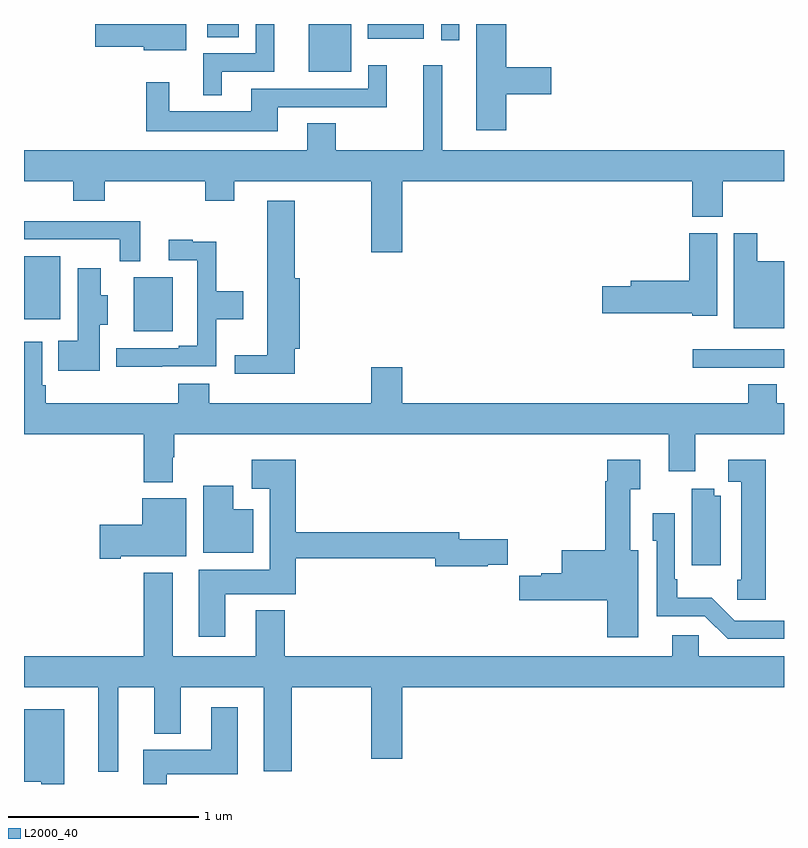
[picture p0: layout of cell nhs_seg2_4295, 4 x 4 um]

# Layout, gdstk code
import gdstk
lib = gdstk.Library(unit=1e-6, precision=1e-09)
def R(c, l, rs):  # rectangles x0, y0, x1, y1
    for r in rs: c.add(gdstk.rectangle(r[:2], r[2:], *l))
def P(c, l, *ps):  # polygons
    for p in ps: c.add(gdstk.Polygon(p, *l))
L2000_40 = (2000, 40)

nhs_seg2_4295 = lib.new_cell('nhs_seg2_4295')
R(nhs_seg2_4295, L2000_40, [(346.521,643.992,347,644.088), (343.577,644.183,343.783,644.467), (343,644.246,343.192,644.578), (344.498,645.548,344.722,645.8), (345.195,645.714,345.291,645.8), (344.81,645.722,345.103,645.8), (343.964,645.73,344.131,645.8)])
P(nhs_seg2_4295, L2000_40, [(344.041,645.549),(344.318,645.549),(344.318,645.8),(344.22,645.8),(344.22,645.645),(343.943,645.645),(343.943,645.425),(344.041,645.425)],
  [(343.855,645.8),(343.376,645.8),(343.376,645.68),(343.629,645.68),(343.629,645.662),(343.855,645.662)],
  [(345.539,645.43),(345.775,645.43),(345.775,645.572),(345.539,645.572),(345.539,645.8),(345.38,645.8),(345.38,645.24),(345.539,645.24)],
  [(344.335,645.363),(344.909,645.363),(344.909,645.583),(344.811,645.583),(344.811,645.459),(344.195,645.459),(344.195,645.34),(343.765,645.34),(343.765,645.493),(343.644,645.493),(343.644,645.236),(344.335,645.236)],
  [(344.992,644.972),(346.517,644.972),(346.517,644.785),(346.677,644.785),(346.677,644.972),(347,644.972),(347,645.136),(345.2,645.136),(345.2,645.583),(345.101,645.583),(345.101,645.136),(344.64,645.136),(344.64,645.278),(344.492,645.278),(344.492,645.136),(343,645.136),(343,644.972),(343.259,644.972),(343.259,644.87),(343.424,644.87),(343.424,644.972),(343.955,644.972),(343.955,644.87),(344.107,644.87),(344.107,644.972),(344.828,644.972),(344.828,644.598),(344.992,644.598)],
  [(344.424,644.091),(344.45,644.091),(344.45,644.463),(344.424,644.463),(344.424,644.869),(344.279,644.869),(344.279,644.057),(344.109,644.057),(344.109,643.958),(344.424,643.958)],
  [(343.612,644.763),(343,644.763),(343,644.667),(343.288,644.667),(343.288,644.666),(343.503,644.666),(343.503,644.552),(343.612,644.552)],
  [(346.648,644.7),(346.502,644.7),(346.502,644.45),(346.193,644.45),(346.193,644.42),(346.044,644.42),(346.044,644.278),(346.518,644.278),(346.518,644.264),(346.648,644.264)],
  [(347,644.551),(346.858,644.551),(346.858,644.698),(346.736,644.698),(346.736,644.198),(347,644.198)],
  [(343.727,643.998),(344.012,643.998),(344.012,644.246),(344.155,644.246),(344.155,644.394),(344.012,644.394),(344.012,644.654),(343.889,644.654),(343.889,644.665),(343.761,644.665),(343.761,644.556),(343.911,644.556),(343.911,644.107),(343.814,644.107),(343.814,644.094),(343.485,644.094),(343.485,643.997),(343.727,643.997)],
  [(343.399,644.218),(343.441,644.218),(343.441,644.373),(343.405,644.373),(343.405,644.515),(343.283,644.515),(343.283,644.134),(343.18,644.134),(343.18,643.976),(343.399,643.976)],
  [(343,644.128),(343,643.64),(343.631,643.64),(343.631,643.388),(343.783,643.388),(343.783,643.52),(343.791,643.52),(343.791,643.64),(346.394,643.64),(346.394,643.446),(346.534,643.446),(346.534,643.64),(347,643.64),(347,643.804),(346.963,643.804),(346.963,643.903),(346.811,643.903),(346.811,643.804),(344.992,643.804),(344.992,643.993),(344.828,643.993),(344.828,643.804),(343.976,643.804),(343.976,643.906),(343.811,643.906),(343.811,643.804),(343.115,643.804),(343.115,643.9),(343.095,643.9),(343.095,644.128)],
  [(344.059,642.8),(344.429,642.8),(344.429,642.988),(345.164,642.988),(345.164,642.946),(345.44,642.946),(345.44,642.954),(345.545,642.954),(345.545,643.088),(345.292,643.088),(345.292,643.124),(344.429,643.124),(344.429,643.507),(344.199,643.507),(344.199,643.355),(344.294,643.355),(344.294,642.928),(343.919,642.928),(343.919,642.576),(344.059,642.576)],
  [(346.903,643.507),(346.707,643.507),(346.707,643.392),(346.775,643.392),(346.775,642.876),(346.753,642.876),(346.753,642.771),(346.903,642.771)],
  [(346.234,643.03),(346.192,643.03),(346.192,643.351),(346.243,643.351),(346.243,643.507),(346.07,643.507),(346.07,643.394),(346.058,643.394),(346.058,643.03),(345.83,643.03),(345.83,642.908),(345.723,642.908),(345.723,642.896),(345.607,642.896),(345.607,642.766),(346.07,642.766),(346.07,642.573),(346.234,642.573)],
  [(344.206,643.246),(344.101,643.246),(344.101,643.369),(343.943,643.369),(343.943,643.016),(344.206,643.016)],
  [(346.666,643.318),(346.634,643.318),(346.634,643.355),(346.514,643.355),(346.514,642.951),(346.666,642.951)],
  [(343.51,642.998),(343.855,642.998),(343.855,643.303),(343.622,643.303),(343.622,643.164),(343.398,643.164),(343.398,642.986),(343.51,642.986)],
  [(347,642.66),(346.74,642.66),(346.619,642.781),(346.438,642.781),(346.438,642.877),(346.425,642.877),(346.425,643.225),(346.308,643.225),(346.308,643.08),(346.329,643.08),(346.329,642.684),(346.584,642.684),(346.704,642.564),(347,642.564)],
  [(343.495,642.308),(343.685,642.308),(343.685,642.065),(343.825,642.065),(343.825,642.308),(344.261,642.308),(344.261,641.867),(344.409,641.867),(344.409,642.308),(344.828,642.308),(344.828,641.934),(344.992,641.934),(344.992,642.308),(347,642.308),(347,642.472),(346.551,642.472),(346.551,642.582),(346.412,642.582),(346.412,642.472),(344.372,642.472),(344.372,642.715),(344.219,642.715),(344.219,642.472),(343.783,642.472),(343.783,642.913),(343.631,642.913),(343.631,642.472),(343,642.472),(343,642.308),(343.391,642.308),(343.391,641.864),(343.495,641.864)],
  [(343.75,641.852),(344.125,641.852),(344.125,642.205),(343.985,642.205),(343.985,641.98),(343.628,641.98),(343.628,641.8),(343.75,641.8)],
  [(343.213,642.193),(343,642.193),(343,641.813),(343.092,641.813),(343.092,641.8),(343.213,641.8)])

lib.write_gds('nhs_seg2_4295.gds')
